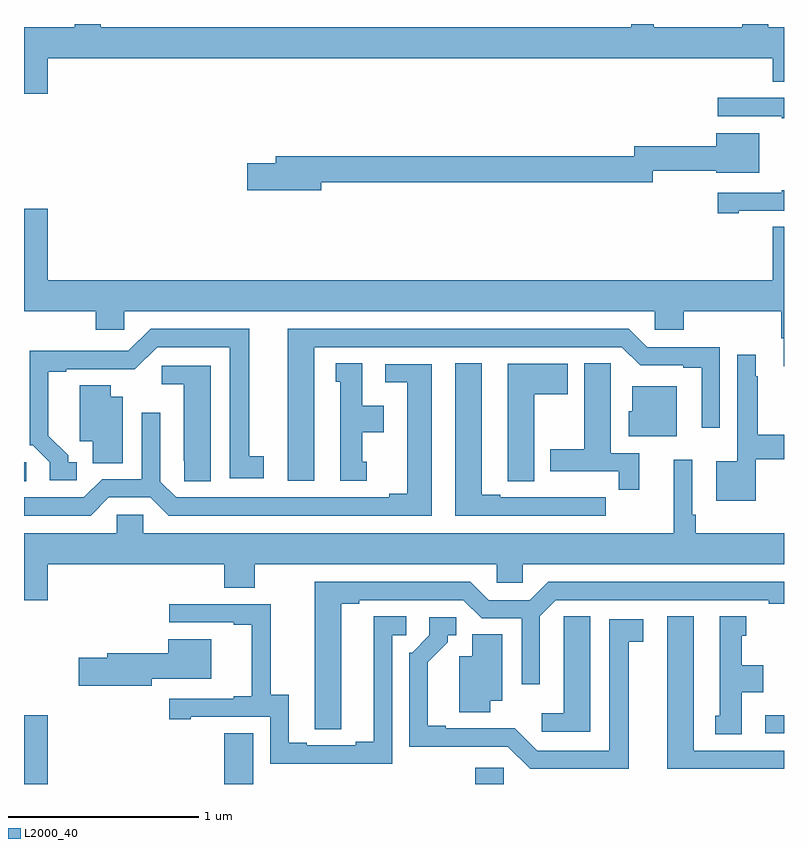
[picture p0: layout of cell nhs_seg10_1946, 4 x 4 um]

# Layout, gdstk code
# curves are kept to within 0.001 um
import gdstk
lib = gdstk.Library(unit=1e-6, precision=1e-09)
def R(c, l, rs):  # rectangles x0, y0, x1, y1
    for r in rs: c.add(gdstk.rectangle(r[:2], r[2:], *l))
def P(c, l, *ps):  # polygons
    for p in ps: c.add(gdstk.Polygon(p, *l))
L2000_40 = (2000, 40)

nhs_seg10_1946 = lib.new_cell('nhs_seg10_1946')
R(nhs_seg10_1946, L2000_40, [(213,1292.5,213.124,1292.863), (214.055,1292.5,214.207,1292.768), (215.375,1292.5,215.526,1292.586), (216.9,1292.766,217,1292.862), (213,1294.093,213.013,1294.194)])
P(nhs_seg10_1946, L2000_40, [(213.124,1296.32),(216.941,1296.32),(216.941,1296.196),(217,1296.196),(217,1296.484),(216.917,1296.484),(216.917,1296.5),(216.781,1296.5),(216.781,1296.484),(216.314,1296.484),(216.314,1296.5),(216.197,1296.5),(216.197,1296.484),(213.405,1296.484),(213.405,1296.5),(213.267,1296.5),(213.267,1296.484),(213,1296.484),(213,1296.132),(213.124,1296.132)],
  [(217,1296.111),(216.651,1296.111),(216.651,1296.015),(216.989,1296.015),(216.989,1296.003),(217,1296.003)],
  [(214.564,1295.668),(216.309,1295.668),(216.309,1295.728),(216.644,1295.728),(216.644,1295.717),(216.871,1295.717),(216.871,1295.926),(216.644,1295.926),(216.644,1295.857),(216.213,1295.857),(216.213,1295.804),(214.325,1295.804),(214.325,1295.768),(214.176,1295.768),(214.176,1295.626),(214.564,1295.626)],
  [(216.763,1295.517),(217,1295.517),(217,1295.626),(216.989,1295.626),(216.989,1295.613),(216.651,1295.613),(216.651,1295.505),(216.763,1295.505)],
  [(217,1295.432),(216.941,1295.432),(216.941,1295.152),(213.124,1295.152),(213.124,1295.527),(213,1295.527),(213,1294.988),(213.377,1294.988),(213.377,1294.89),(213.528,1294.89),(213.528,1294.988),(216.321,1294.988),(216.321,1294.89),(216.473,1294.89),(216.473,1294.988),(216.986,1294.988),(216.986,1294.846),(216.998,1294.846),(216.998,1294.698),(217,1294.698)],
  [(214.528,1294.8),(216.147,1294.8),(216.243,1294.704),(216.47,1294.704),(216.47,1294.692),(216.566,1294.692),(216.566,1294.374),(216.663,1294.374),(216.663,1294.8),(216.279,1294.8),(216.183,1294.896),(214.388,1294.896),(214.388,1294.095),(214.528,1294.095)],
  [(213.277,1294.194),(213.232,1294.194),(213.232,1294.229),(213.127,1294.334),(213.127,1294.671),(213.223,1294.671),(213.223,1294.683),(213.584,1294.682),(213.702,1294.8),(214.082,1294.8),(214.082,1294.11),(214.261,1294.11),(214.261,1294.226),(214.186,1294.226),(214.186,1294.896),(213.666,1294.896),(213.549,1294.779),(213.293,1294.779),(213.293,1294.781),(213.03,1294.781),(213.03,1294.284),(213.045,1294.284),(213.135,1294.194),(213.135,1294.098),(213.277,1294.098)],
  [(216.85,1294.208),(217,1294.208),(217,1294.338),(216.862,1294.338),(216.862,1294.646),(216.85,1294.646),(216.85,1294.759),(216.753,1294.759),(216.753,1294.198),(216.644,1294.198),(216.644,1293.992),(216.85,1293.992)],
  [(216.239,1294.242),(216.088,1294.242),(216.088,1294.604),(216.087,1294.604),(216.087,1294.715),(215.948,1294.715),(215.948,1294.263),(215.771,1294.263),(215.771,1294.146),(216.13,1294.146),(216.13,1294.05),(216.239,1294.05)],
  [(214.804,1294.197),(214.78,1294.197),(214.78,1294.352),(214.894,1294.352),(214.894,1294.492),(214.78,1294.492),(214.78,1294.715),(214.64,1294.715),(214.64,1294.617),(214.664,1294.617),(214.664,1294.095),(214.804,1294.095)],
  [(216.061,1294.008),(215.948,1294.008),(215.948,1294.009),(215.782,1294.009),(215.782,1294.008),(215.506,1294.008),(215.506,1294.023),(215.41,1294.023),(215.41,1294.715),(215.27,1294.715),(215.27,1293.912),(216.061,1293.912)],
  [(215.686,1294.552),(215.863,1294.552),(215.863,1294.711),(215.546,1294.711),(215.546,1294.201),(215.547,1294.201),(215.547,1294.093),(215.686,1294.093)],
  [(213.447,1294.008),(213.665,1294.008),(213.761,1293.912),(215.146,1293.912),(215.146,1294.71),(214.902,1294.71),(214.902,1294.614),(215.018,1294.614),(215.018,1294.028),(214.922,1294.028),(214.922,1294.008),(213.801,1294.008),(213.717,1294.092),(213.717,1294.453),(213.621,1294.453),(213.621,1294.104),(213.411,1294.104),(213.315,1294.008),(213,1294.008),(213,1293.912),(213.351,1293.912)],
  [(213.982,1294.701),(213.726,1294.701),(213.726,1294.604),(213.842,1294.604),(213.842,1294.201),(213.843,1294.201),(213.843,1294.093),(213.982,1294.093)],
  [(213.52,1294.537),(213.457,1294.537),(213.457,1294.598),(213.293,1294.598),(213.293,1294.304),(213.362,1294.304),(213.362,1294.189),(213.52,1294.189)],
  [(216.436,1294.594),(216.2,1294.594),(216.2,1294.461),(216.182,1294.461),(216.182,1294.331),(216.436,1294.331)],
  [(213.124,1293.656),(214.055,1293.656),(214.055,1293.532),(214.215,1293.532),(214.215,1293.656),(215.487,1293.656),(215.487,1293.558),(215.625,1293.558),(215.625,1293.656),(217,1293.656),(217,1293.82),(216.536,1293.82),(216.536,1293.916),(216.516,1293.916),(216.516,1294.207),(216.419,1294.207),(216.419,1293.82),(213.627,1293.82),(213.627,1293.918),(213.489,1293.918),(213.489,1293.82),(213,1293.82),(213,1293.468),(213.124,1293.468)],
  [(214.669,1293.448),(214.765,1293.448),(214.765,1293.468),(215.313,1293.468),(215.409,1293.372),(215.619,1293.372),(215.619,1293.024),(215.715,1293.024),(215.715,1293.384),(215.799,1293.468),(216.92,1293.468),(216.92,1293.448),(217,1293.448),(217,1293.564),(215.759,1293.564),(215.663,1293.468),(215.445,1293.468),(215.349,1293.564),(214.529,1293.564),(214.53,1292.788),(214.669,1292.788)],
  [(214.938,1293.282),(215.011,1293.282),(215.011,1293.383),(214.841,1293.383),(214.841,1292.723),(214.745,1292.723),(214.745,1292.703),(214.489,1292.703),(214.489,1292.718),(214.393,1292.718),(214.393,1292.969),(214.299,1292.969),(214.299,1293.447),(213.765,1293.447),(213.765,1293.351),(214.103,1293.351),(214.103,1293.339),(214.199,1293.339),(214.199,1292.962),(214.103,1292.962),(214.103,1292.949),(213.765,1292.949),(213.765,1292.841),(213.877,1292.841),(213.877,1292.853),(214.296,1292.853),(214.296,1292.607),(214.938,1292.607)],
  [(215.98,1293.383),(215.841,1293.383),(215.841,1293.275),(215.84,1293.275),(215.84,1292.872),(215.724,1292.872),(215.724,1292.775),(215.98,1292.775)],
  [(216.778,1292.984),(216.892,1292.984),(216.892,1293.124),(216.778,1293.124),(216.778,1293.279),(216.802,1293.279),(216.802,1293.382),(216.662,1293.382),(216.662,1292.859),(216.638,1292.859),(216.638,1292.761),(216.778,1292.761)],
  [(217,1292.676),(216.526,1292.676),(216.526,1293.382),(216.386,1293.382),(216.386,1292.58),(217,1292.58)],
  [(216.184,1293.25),(216.259,1293.25),(216.259,1293.366),(216.08,1293.366),(216.08,1292.676),(215.7,1292.676),(215.582,1292.794),(215.221,1292.793),(215.221,1292.806),(215.125,1292.806),(215.125,1293.142),(215.23,1293.247),(215.23,1293.282),(215.275,1293.282),(215.275,1293.378),(215.133,1293.378),(215.133,1293.282),(215.043,1293.192),(215.028,1293.192),(215.028,1292.696),(215.547,1292.697),(215.664,1292.58),(216.184,1292.58)],
  [(215.455,1292.939),(215.518,1292.939),(215.518,1293.287),(215.36,1293.287),(215.36,1293.172),(215.291,1293.172),(215.291,1292.878),(215.455,1292.878)],
  [(213.672,1293.053),(213.985,1293.053),(213.985,1293.262),(213.758,1293.262),(213.758,1293.189),(213.437,1293.189),(213.437,1293.164),(213.288,1293.164),(213.288,1293.017),(213.672,1293.017)])

lib.write_gds('nhs_seg10_1946.gds')
